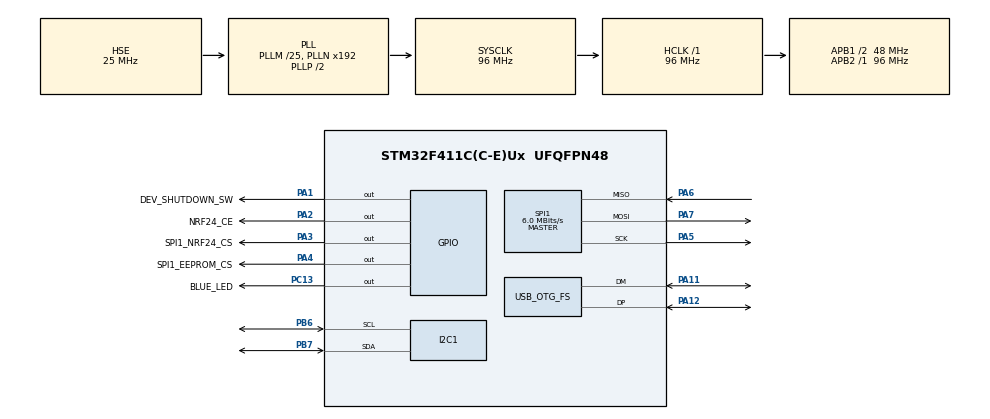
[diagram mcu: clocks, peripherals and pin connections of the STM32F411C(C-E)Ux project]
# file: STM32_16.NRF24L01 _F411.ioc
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FREERTOS.Tasks01=defaultTask,24,256,StartDefaultTask,Default,NULL,Dynamic,NULL,NULL;CommunicationTa,40,1024,StartCommunicationTask,Default,NULL,Dynamic,NULL,NULL;ReadSensorsTask,16,512,StartReadSensorsTask,Default,NULL,Dynamic,NULL,NULL
FREERTOS.configUSE_NEWLIB_REENTRANT=1
I2C1.I2C_Mode=I2C_Fast
Mcu.Family=STM32F4
Mcu.Name=STM32F411C(C-E)Ux
Mcu.Package=UFQFPN48
NVIC.I2C1_ER_IRQn=true\:5\:0\:false\:false\:true\:true\:true\:true\:true
NVIC.I2C1_EV_IRQn=true\:5\:0\:false\:false\:true\:true\:true\:true\:true
NVIC.OTG_FS_IRQn=true\:5\:0\:false\:false\:true\:true\:false\:true\:true
NVIC.PriorityGroup=NVIC_PRIORITYGROUP_4
NVIC.SPI1_IRQn=true\:5\:0\:false\:false\:true\:true\:true\:true\:true
NVIC.TIM1_UP_TIM10_IRQn=true\:15\:0\:false\:false\:true\:false\:false\:true\:true
NVIC.TimeBase=TIM1_UP_TIM10_IRQn
NVIC.TimeBaseIP=TIM10
PA1.GPIO_Label=DEV_SHUTDOWN_SW
PA1.GPIO_PuPd=GPIO_NOPULL
PA1.Signal=GPIO_Output
PA11.Mode=Device_Only
PA11.Signal=USB_OTG_FS_DM
PA12.Mode=Device_Only
PA12.Signal=USB_OTG_FS_DP
PA13.Mode=Serial_Wire
PA13.Signal=SYS_JTMS-SWDIO
PA14.Mode=Serial_Wire
PA14.Signal=SYS_JTCK-SWCLK
PA2.GPIO_Label=NRF24_CE
PA2.Signal=GPIO_Output
PA3.GPIO_Label=SPI1_NRF24_CS
PA3.Signal=GPIO_Output
PA4.GPIO_Label=SPI1_EEPROM_CS
PA4.Signal=GPIO_Output
PA5.Mode=Full_Duplex_Master
PA5.Signal=SPI1_SCK
PA6.Mode=Full_Duplex_Master
PA6.Signal=SPI1_MISO
PA7.Mode=Full_Duplex_Master
PA7.Signal=SPI1_MOSI
PB6.Mode=I2C
PB6.Signal=I2C1_SCL
PB7.Mode=I2C
PB7.Signal=I2C1_SDA
PC13-ANTI_TAMP.GPIO_Label=BLUE_LED
PC13-ANTI_TAMP.Signal=GPIO_Output
PH0\ -\ OSC_IN.Mode=HSE-External-Oscillator
PH0\ -\ OSC_IN.Signal=RCC_OSC_IN
PH1\ -\ OSC_OUT.Mode=HSE-External-Oscillator
PH1\ -\ OSC_OUT.Signal=RCC_OSC_OUT
ProjectManager.HeapSize=0x200
ProjectManager.StackSize=0x400
ProjectManager.TargetToolchain=STM32CubeIDE
RCC.48MHZClocksFreq_Value=48000000
RCC.AHBFreq_Value=96000000
RCC.APB1CLKDivider=RCC_HCLK_DIV2
RCC.APB1Freq_Value=48000000
RCC.APB1TimFreq_Value=96000000
RCC.APB2Freq_Value=96000000
RCC.APB2TimFreq_Value=96000000
RCC.CortexFreq_Value=96000000
RCC.HCLKFreq_Value=96000000
RCC.HSE_VALUE=25000000
RCC.HSI_VALUE=16000000
RCC.LSE_VALUE=32768
RCC.PLLM=25
RCC.SYSCLKFreq_VALUE=96000000
RCC.SYSCLKSource=RCC_SYSCLKSOURCE_PLLCLK
RCC.VCOOutputFreq_Value=192000000
SPI1.BaudRatePrescaler=SPI_BAUDRATEPRESCALER_16
SPI1.CalculateBaudRate=6.0 MBits/s
SPI1.Direction=SPI_DIRECTION_2LINES
SPI1.Mode=SPI_MODE_MASTER
SPI1.VirtualType=VM_MASTER
USB_DEVICE.CLASS_NAME_FS=CDC
USB_DEVICE.VirtualMode=Cdc
USB_DEVICE.VirtualModeFS=Cdc_FS
USB_OTG_FS.VirtualMode=Device_Only
VP_FREERTOS_VS_CMSIS_V2.Mode=CMSIS_V2
VP_SYS_VS_tim10.Mode=TIM10
VP_USB_DEVICE_VS_USB_DEVICE_CDC_FS.Mode=CDC_FS
board=custom

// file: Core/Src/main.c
/* USER CODE BEGIN Header */
/**
  ******************************************************************************
  * @file           : main.c
  * @brief          : Main program body
  ******************************************************************************
  * @attention
  *
  * Copyright (c) 2026 STMicroelectronics.
  * All rights reserved.
  *
  * This software is licensed under terms that can be found in the LICENSE file
  * in the root directory of this software component.
  * If no LICENSE file comes with this software, it is provided AS-IS.
  *
  ******************************************************************************
  */
/* USER CODE END Header */
#include "main.h"
#include "cmsis_os.h"
#include "i2c.h"
#include "spi.h"
#include "usb_device.h"
#include "gpio.h"

void SystemClock_Config(void);
void MX_FREERTOS_Init(void);

int main(void)
{

  /* MCU Configuration--------------------------------------------------------*/

  /* Reset of all peripherals, Initializes the Flash interface and the Systick. */
  HAL_Init();

  /* Configure the system clock */
  SystemClock_Config();

  /* Initialize all configured peripherals */
  MX_GPIO_Init();
  MX_SPI1_Init();
  MX_I2C1_Init();

  /* Init scheduler */
  osKernelInitialize();  /* Call init function for freertos objects (in cmsis_os2.c) */
  MX_FREERTOS_Init();

  /* Start scheduler */
  osKernelStart();

  /* We should never get here as control is now taken by the scheduler */

  /* Infinite loop */
  while (1)
  {

  }
}

void SystemClock_Config(void)
{
  RCC_OscInitTypeDef RCC_OscInitStruct = {0};
  RCC_ClkInitTypeDef RCC_ClkInitStruct = {0};

  /** Configure the main internal regulator output voltage
  */
  __HAL_RCC_PWR_CLK_ENABLE();
  __HAL_PWR_VOLTAGESCALING_CONFIG(PWR_REGULATOR_VOLTAGE_SCALE1);

  /** Initializes the RCC Oscillators according to the specified parameters
  * in the RCC_OscInitTypeDef structure.
  */
  RCC_OscInitStruct.OscillatorType = RCC_OSCILLATORTYPE_HSE;
  RCC_OscInitStruct.HSEState = RCC_HSE_ON;
  RCC_OscInitStruct.PLL.PLLState = RCC_PLL_ON;
  RCC_OscInitStruct.PLL.PLLSource = RCC_PLLSOURCE_HSE;
  RCC_OscInitStruct.PLL.PLLM = 25;
  RCC_OscInitStruct.PLL.PLLN = 192;
  RCC_OscInitStruct.PLL.PLLP = RCC_PLLP_DIV2;
  RCC_OscInitStruct.PLL.PLLQ = 4;
  if (HAL_RCC_OscConfig(&RCC_OscInitStruct) != HAL_OK)
  {
    Error_Handler();
  }

  /** Initializes the CPU, AHB and APB buses clocks
  */
  RCC_ClkInitStruct.ClockType = RCC_CLOCKTYPE_HCLK|RCC_CLOCKTYPE_SYSCLK
                              |RCC_CLOCKTYPE_PCLK1|RCC_CLOCKTYPE_PCLK2;
  RCC_ClkInitStruct.SYSCLKSource = RCC_SYSCLKSOURCE_PLLCLK;
  RCC_ClkInitStruct.AHBCLKDivider = RCC_SYSCLK_DIV1;
  RCC_ClkInitStruct.APB1CLKDivider = RCC_HCLK_DIV2;
  RCC_ClkInitStruct.APB2CLKDivider = RCC_HCLK_DIV1;

  if (HAL_RCC_ClockConfig(&RCC_ClkInitStruct, FLASH_LATENCY_3) != HAL_OK)
  {
    Error_Handler();
  }
}

void HAL_TIM_PeriodElapsedCallback(TIM_HandleTypeDef *htim)
{
  if (htim->Instance == TIM10)
  {
    HAL_IncTick();
  }
}

void Error_Handler(void)
{
  __disable_irq();
  while (1)
  {
  }
}

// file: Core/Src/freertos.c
/* USER CODE BEGIN Header */
/**
  ******************************************************************************
  * File Name          : freertos.c
  * Description        : Code for freertos applications
  ******************************************************************************
  * @attention
  *
  * Copyright (c) 2026 STMicroelectronics.
  * All rights reserved.
  *
  * This software is licensed under terms that can be found in the LICENSE file
  * in the root directory of this software component.
  * If no LICENSE file comes with this software, it is provided AS-IS.
  *
  ******************************************************************************
  */
/* USER CODE END Header */

#include "FreeRTOS.h"
#include "task.h"
#include "main.h"
#include "cmsis_os.h"

/* USER CODE BEGIN Includes */
#include <stdio.h>
#include <string.h>
#include "spi.h"
#include "i2c.h"
#include "UsbDebug.h"
#include "SecureCommunication.h"
#include "Communication.h"
#include "CommunicationLink.h"
#include "NrfLink.h"
#include "CommunicationDevices.h"
#include "BMP280.h"
#include "BH1750.h"
/* USER CODE END Includes */

/* USER CODE BEGIN PD */
#define COMM_FLAG_RADIO_INIT_REQUEST (1u << 0)
#define COMM_FLAG_BATCH_END          (1u << 1)

#define SENSOR_FLAG_RADIO_READY      (1u << 2)
#define SENSOR_FLAG_RADIO_ERROR      (1u << 3)
#define SENSOR_FLAG_TX_COMPLETE      (1u << 4)
#define SENSOR_FLAG_TX_ERROR         (1u << 5)

#define DEVICE_POWER_STABILIZATION_MS   500u
#define SENSOR_CYCLE_DELAY_MS            60000u
#define SENSOR_INIT_RETRY_COUNT              5u
#define SENSOR_INIT_RETRY_DELAY_MS          100u
#define I2C_RESTART_DELAY_MS                 10u
#define BMP280_MEASUREMENT_TIMEOUT_MS       100u
#define RADIO_INIT_TIMEOUT_MS             5000u
#define COMMUNICATION_SESSION_TIMEOUT_MS  5000u
#define TX_COMPLETE_TIMEOUT_MS            6000u
/* USER CODE END PD */

/* USER CODE BEGIN Variables */
volatile uint8_t ToggleLed = 1u;

/*
 * Select this firmware instance from the central device table.
 * currentDevice is Device 0x02, rootDevice is Device 0x01.
 */
static const CommunicationDevice_t * const rootDevice = &communicationDevices[0];
static const CommunicationDevice_t * const currentDevice = &communicationDevices[1];

static SecureCommunication_t secureCommunication;
static NrfLink_t nrfLink;
static Communication_t communication;
/* USER CODE END Variables */
/* Definitions for defaultTask */
osThreadId_t defaultTaskHandle;
const osThreadAttr_t defaultTask_attributes = {
  .name = "defaultTask",
  .stack_size = 256 * 4,
  .priority = (osPriority_t) osPriorityNormal,
};
/* Definitions for CommunicationTa */
osThreadId_t CommunicationTaHandle;
const osThreadAttr_t CommunicationTa_attributes = {
  .name = "CommunicationTa",
  .stack_size = 1024 * 4,
  .priority = (osPriority_t) osPriorityHigh,
};
/* Definitions for ReadSensorsTask */
osThreadId_t ReadSensorsTaskHandle;
const osThreadAttr_t ReadSensorsTask_attributes = {
  .name = "ReadSensorsTask",
  .stack_size = 512 * 4,
  .priority = (osPriority_t) osPriorityBelowNormal,
};

/* USER CODE BEGIN FunctionPrototypes */
static void LogCommunicationError(CommunicationStatus_t status);
static bool InitializeSensors(void);
static bool WaitForBmp280MeasurementComplete(void);
static bool QueueMeasurement(SecureMessageType_t messageType, float value, const char *name);
static bool QueueMeasurements(float lux, float temperature, float pressure, float humidity);
static void RestartI2CPeripheral(void);
static void ExternalDevicesPowerOn(void);
static void ExternalDevicesPowerOff(void);
/* USER CODE END FunctionPrototypes */

void StartDefaultTask(void *argument);
void StartCommunicationTask(void *argument);
void StartReadSensorsTask(void *argument);

extern void MX_USB_DEVICE_Init(void);
void MX_FREERTOS_Init(void); /* (MISRA C 2004 rule 8.1) */

void MX_FREERTOS_Init(void) {
  /* USER CODE BEGIN Init */
	bmp280.i2c = &hi2c1;               // uchwyt I2C (np. &hi2c1, &hi2c2)
	bmp280.addr = BMP280_I2C_ADDRESS_0; // adres 0x76 (SDO do GND) lub ADDRESS_1 (0x77)
	bmp280_init_default_params(&bmp280.params);
	bmp280.params.mode = BMP280_MODE_FORCED;

	bh1750.hi2c = &hi2c1;
	bh1750.address = BH1750_I2C_ADDRESS;
	bh1750.mode = BH1750_MODE_CONTINUOUS_HIGH_RES;
	bh1750.initialized = false;

  /* USER CODE END Init */

  /* USER CODE BEGIN RTOS_QUEUES */
  (void)UsbDebug_CreateOsObjects();
  /* USER CODE END RTOS_QUEUES */

  /* Create the thread(s) */
  /* creation of defaultTask */
  defaultTaskHandle = osThreadNew(StartDefaultTask, NULL, &defaultTask_attributes);

  /* creation of CommunicationTa */
  CommunicationTaHandle = osThreadNew(StartCommunicationTask, NULL, &CommunicationTa_attributes);

  /* creation of ReadSensorsTask */
  ReadSensorsTaskHandle = osThreadNew(StartReadSensorsTask, NULL, &ReadSensorsTask_attributes);

}

void StartDefaultTask(void *argument)
{
  /* init code for USB_DEVICE */
  MX_USB_DEVICE_Init();
  /* USER CODE BEGIN StartDefaultTask */
  (void)argument;

  osDelay(10000u);
  DebugPrintf("Device 0x%02X started\r\n", currentDevice->deviceId);

  uint32_t lastLedToggle = HAL_GetTick();

  for (;;)
  {
    uint32_t now = HAL_GetTick();

    UsbDebug_Process();

    if (ToggleLed != 0u && (uint32_t)(now - lastLedToggle) >= 15000u)
    {
      lastLedToggle = now;
      HAL_GPIO_TogglePin(BLUE_LED_GPIO_Port, BLUE_LED_Pin);
      Debug("Mesurment device alive\r\n");
    }

    osDelay(2u);
  }
  /* USER CODE END StartDefaultTask */
}

void StartCommunicationTask(void *argument)
{
  /* USER CODE BEGIN StartCommunicationTask */
  CommunicationMessage_t receivedMessage;
  CommunicationLink_t linkInterface;
  NRF24_Status_t nrfStatus;

  (void)argument;
  osDelay(10000u);

  /* Software/security layer is initialized only once per MCU boot. */
  if (!SecureCommunication_Init(&secureCommunication, currentDevice->deviceId, currentDevice->deviceKey))
  {
    Debug("SecureCommunication init failed: boot-counter Flash storage (sector 7, 0x08060000)\r\n");
    for (;;)
    {
      osDelay(1000u);
    }
  }

  if (!SecureCommunication_AuthorizePeer(&secureCommunication, rootDevice->deviceId, rootDevice->deviceKey))
  {
    Debug("Secure peer authorization failed\r\n");
    for (;;)
    {
      osDelay(1000u);
    }
  }

  /* Communication queues and routing also live for the whole MCU boot. */
  linkInterface = NrfLink_AsCommunicationLink(&nrfLink);
  if (!Communication_Init(&communication, &secureCommunication, &linkInterface) || !Communication_AddRoute(&communication, rootDevice->deviceId, rootDevice->nrfAddress, NRF_LINK_ADDRESS_SIZE))
  {
    Debug("Communication routing init failed\r\n");
    for (;;)
    {
      osDelay(1000u);
    }
  }

  DebugPrintf("Communication initialized: logical ID=0x%02X\r\n", currentDevice->deviceId);

  for (;;)
  {
    bool batchEnded = false;
    bool txError = false;
    uint32_t sessionStartTick;

    (void)osThreadFlagsWait(COMM_FLAG_RADIO_INIT_REQUEST, osFlagsWaitAny, osWaitForever);
    (void)Communication_ResetTxQueue(&communication);

    nrfStatus = NrfLink_Init(&nrfLink, &hspi1, NRF24_CE_GPIO_Port, NRF24_CE_Pin, SPI1_NRF24_CS_GPIO_Port, SPI1_NRF24_CS_Pin, currentDevice->nrfAddress);
    if (nrfStatus != NRF24_OK)
    {
      DebugPrintf("NRF init failed: %s\r\n", NRF24_StatusToString(nrfStatus));
      osThreadFlagsSet(ReadSensorsTaskHandle, SENSOR_FLAG_RADIO_ERROR);
      continue;
    }

    Debug("NRF initialized for measurement cycle\r\n");
    osThreadFlagsSet(ReadSensorsTaskHandle, SENSOR_FLAG_RADIO_READY);
    sessionStartTick = HAL_GetTick();

    while (true)
    {
      uint32_t pendingFlags = osThreadFlagsGet();

      if ((pendingFlags & COMM_FLAG_BATCH_END) != 0u)
      {
        osThreadFlagsClear(COMM_FLAG_BATCH_END);
        batchEnded = true;
      }

      if (batchEnded && Communication_IsTxQueueEmpty(&communication))
      {
        break;
      }

      if ((HAL_GetTick() - sessionStartTick) >= COMMUNICATION_SESSION_TIMEOUT_MS)
      {
        Debug("Communication session timeout\r\n");
        txError = true;
        (void)Communication_ResetTxQueue(&communication);
        break;
      }

      CommunicationStatus_t status = Communication_Process(&communication);
      if (status != COMMUNICATION_OK && status != COMMUNICATION_IDLE)
      {
        LogCommunicationError(status);
        txError = true;
      }

      while (Communication_TryReceive(&communication, &receivedMessage))
      {
        DebugMessage("RX", receivedMessage.sourceId, receivedMessage.destinationId, (uint8_t)receivedMessage.messageType, receivedMessage.payload, receivedMessage.payloadLength);
      }

      osDelay(1u);
    }

    nrfStatus = NRF24_StopListening(&nrfLink.radio);
    if (nrfStatus != NRF24_OK)
    {
      DebugPrintf("NRF stop listening failed: %s\r\n", NRF24_StatusToString(nrfStatus));
      txError = true;
    }

    uint32_t resultFlags = SENSOR_FLAG_TX_COMPLETE;
    if (txError)
    {
      resultFlags |= SENSOR_FLAG_TX_ERROR;
    }

    osThreadFlagsSet(ReadSensorsTaskHandle, resultFlags);
  }
  /* USER CODE END StartCommunicationTask */
}

void StartReadSensorsTask(void *argument)
{
  /* USER CODE BEGIN StartReadSensorsTask */
  (void)argument;

  while (!Communication_IsInitialized(&communication))
  {
    osDelay(100u);
  }

  for (;;)
  {
    float lux;
    uint32_t flags;

    ExternalDevicesPowerOn();

    if (!InitializeSensors())
    {
      ExternalDevicesPowerOff();
      osDelay(SENSOR_CYCLE_DELAY_MS);
      continue;
    }

    lux = BH1750_ReadLux(&bh1750);
    if (lux < 0.0f)
    {
      Debug("BH1750 read error\r\n");
      ExternalDevicesPowerOff();
      osDelay(SENSOR_CYCLE_DELAY_MS);
      continue;
    }

    if (!bmp280_force_measurement(&bmp280))
    {
      Debug("BMP280 force measurement failed\r\n");
      ExternalDevicesPowerOff();
      osDelay(SENSOR_CYCLE_DELAY_MS);
      continue;
    }

    if (!WaitForBmp280MeasurementComplete())
    {
      ExternalDevicesPowerOff();
      osDelay(SENSOR_CYCLE_DELAY_MS);
      continue;
    }

    if (!bmp280_read_float(&bmp280, &BMP280_temperature, &BMP280_pressure, &BMP280_humidity))
    {
      Debug("BMP280 read error\r\n");
      ExternalDevicesPowerOff();
      osDelay(SENSOR_CYCLE_DELAY_MS);
      continue;
    }

    osThreadFlagsSet(CommunicationTaHandle, COMM_FLAG_RADIO_INIT_REQUEST);
    flags = osThreadFlagsWait(SENSOR_FLAG_RADIO_READY | SENSOR_FLAG_RADIO_ERROR, osFlagsWaitAny, RADIO_INIT_TIMEOUT_MS);

    if ((flags & osFlagsError) != 0u)
    {
      Debug("Radio initialization timeout\r\n");
      ExternalDevicesPowerOff();
      osDelay(SENSOR_CYCLE_DELAY_MS);
      continue;
    }

    if ((flags & SENSOR_FLAG_RADIO_ERROR) != 0u)
    {
      Debug("Radio initialization failed for measurement cycle\r\n");
      ExternalDevicesPowerOff();
      osDelay(SENSOR_CYCLE_DELAY_MS);
      continue;
    }

    if (!QueueMeasurements(lux, BMP280_temperature, BMP280_pressure / 100.0f, BMP280_humidity))
    {
      Debug("Not all measurements were queued\r\n");
    }

    osThreadFlagsSet(CommunicationTaHandle, COMM_FLAG_BATCH_END);
    flags = osThreadFlagsWait(SENSOR_FLAG_TX_COMPLETE | SENSOR_FLAG_TX_ERROR, osFlagsWaitAny, TX_COMPLETE_TIMEOUT_MS);

    if ((flags & osFlagsError) != 0u)
    {
      Debug("Communication completion timeout\r\n");
    }
    else if ((flags & SENSOR_FLAG_TX_ERROR) != 0u)
    {
      Debug("Measurement cycle completed with communication error\r\n");
    }
    else
    {
      Debug("Measurement cycle transmitted successfully\r\n");
    }

    ExternalDevicesPowerOff();
    osDelay(SENSOR_CYCLE_DELAY_MS);
  }
  /* USER CODE END StartReadSensorsTask */
}

/* USER CODE BEGIN Application */
static bool InitializeSensors(void)
{
    BH1750_Error bhStatus = BH1750_ERROR_I2C;
    bmp280_params_t bmpParams;
    bool bmpInitialized = false;
    uint32_t attempt;

    bh1750.initialized = false;
    bmp280.initialized = false;
    bmp280_init_default_params(&bmpParams);
    bmpParams.mode = BMP280_MODE_FORCED;

    for (attempt = 1u; attempt <= SENSOR_INIT_RETRY_COUNT; ++attempt)
    {
        bh1750.initialized = false;
        bhStatus = BH1750_Init(&bh1750);
        if (bhStatus == BH1750_OK)
        {
            break;
        }

        DebugPrintf("BH1750 init failed attempt %lu/%lu: err=%u I2Cerr=0x%08lX state=%lu\r\n",
                    (unsigned long)attempt,
                    (unsigned long)SENSOR_INIT_RETRY_COUNT,
                    (unsigned int)bhStatus,
                    (unsigned long)HAL_I2C_GetError(&hi2c1),
                    (unsigned long)HAL_I2C_GetState(&hi2c1));

        if (attempt < SENSOR_INIT_RETRY_COUNT)
        {
            RestartI2CPeripheral();
            osDelay(SENSOR_INIT_RETRY_DELAY_MS);
        }
    }

    if (bhStatus != BH1750_OK)
    {
        return false;
    }
    Debug("BH1750 initialized successfully\r\n");

    for (attempt = 1u; attempt <= SENSOR_INIT_RETRY_COUNT; ++attempt)
    {
        bmp280.initialized = false;
        if (bmp280_init(&bmp280, &bmpParams))
        {
            bmpInitialized = true;
            break;
        }

        DebugPrintf("BMP280 init failed attempt %lu/%lu: I2Cerr=0x%08lX state=%lu\r\n",
                    (unsigned long)attempt,
                    (unsigned long)SENSOR_INIT_RETRY_COUNT,
                    (unsigned long)HAL_I2C_GetError(&hi2c1),
                    (unsigned long)HAL_I2C_GetState(&hi2c1));

        if (attempt < SENSOR_INIT_RETRY_COUNT)
        {
            RestartI2CPeripheral();
            osDelay(SENSOR_INIT_RETRY_DELAY_MS);
        }
    }

    if (!bmpInitialized)
    {
        return false;
    }
    Debug("BMP280 initialized successfully\r\n");
    DebugPrintf("BMP280 calib: ID=0x%02X T1=%u P1=%u H1=%u\r\n", (unsigned int)bmp280.id, (unsigned int)bmp280.dig_T1, (unsigned int)bmp280.dig_P1, (unsigned int)bmp280.dig_H1);

    return true;
}

static bool WaitForBmp280MeasurementComplete(void)
{
    bool isMeasuring = false;
    bool measurementStarted = false;
    uint32_t startTick = HAL_GetTick();

    for (;;)
    {
        if (!bmp280_get_measuring_status(&bmp280, &isMeasuring))
        {
            Debug("BMP280 status read error\r\n");
            return false;
        }

        if (isMeasuring)
        {
            measurementStarted = true;
        }
        else if (measurementStarted)
        {
            return true;
        }

        if ((HAL_GetTick() - startTick) >= BMP280_MEASUREMENT_TIMEOUT_MS)
        {
            Debug("BMP280 measurement timeout\r\n");
            return false;
        }

        osDelay(1u);
    }
}

static bool QueueMeasurement(SecureMessageType_t messageType, float value, const char *name)
{
    char buffer[32];
    int length = snprintf(buffer, sizeof(buffer), "%.2f", value);

    if (length <= 0 || length >= (int)sizeof(buffer))
    {
        DebugPrintf("Failed to format %s\r\n", name);
        return false;
    }

    if (!Communication_Send(&communication, rootDevice->deviceId, messageType, buffer, (uint16_t)length))
    {
        DebugPrintf("Failed to queue %s\r\n", name);
        return false;
    }

    DebugMessage(name, currentDevice->deviceId, rootDevice->deviceId, (uint8_t)messageType, (const uint8_t *)buffer, (uint16_t)length);
    return true;
}

static bool QueueMeasurements(float lux, float temperature, float pressure, float humidity)
{
    bool result = true;

    if (!QueueMeasurement(MESSAGE_TYPE_LIGHT_MESURMENT, lux, "TX QUEUED Lux"))
    {
        result = false;
    }
    if (!QueueMeasurement(MESSAGE_TYPE_TEMPERATURE, temperature, "TX QUEUED Temperature"))
    {
        result = false;
    }
    if (!QueueMeasurement(MESSAGE_TYPE_PRESSURE, pressure, "TX QUEUED Pressure"))
    {
        result = false;
    }
    if (!QueueMeasurement(MESSAGE_TYPE_HUMIDITY, humidity, "TX QUEUED Humidity"))
    {
        result = false;
    }

    return result;
}

static void RestartI2CPeripheral(void)
{
    (void)HAL_I2C_DeInit(&hi2c1);
    osDelay(I2C_RESTART_DELAY_MS);
    MX_I2C1_Init();
}

static void ExternalDevicesPowerOn(void)
{
    /* Leave all bus pins high-impedance while the switched rail is off. */
    HAL_GPIO_WritePin(NRF24_CE_GPIO_Port, NRF24_CE_Pin, GPIO_PIN_RESET);
    HAL_GPIO_WritePin(SPI1_NRF24_CS_GPIO_Port, SPI1_NRF24_CS_Pin, GPIO_PIN_RESET);
    (void)HAL_SPI_DeInit(&hspi1);
    (void)HAL_I2C_DeInit(&hi2c1);

    HAL_GPIO_WritePin(DEV_SHUTDOWN_SW_GPIO_Port, DEV_SHUTDOWN_SW_Pin, GPIO_PIN_SET);
    Debug("External devices power ON\r\n");
    osDelay(DEVICE_POWER_STABILIZATION_MS);

    /* Restore MCU interfaces only after the external rail is stable. */
    MX_I2C1_Init();
    MX_SPI1_Init();
    HAL_GPIO_WritePin(NRF24_CE_GPIO_Port, NRF24_CE_Pin, GPIO_PIN_RESET);
    HAL_GPIO_WritePin(SPI1_NRF24_CS_GPIO_Port, SPI1_NRF24_CS_Pin, GPIO_PIN_SET);
}

static void ExternalDevicesPowerOff(void)
{
    bh1750.initialized = false;
    bmp280.initialized = false;

    /* Prevent back-powering the unpowered nRF/sensors through MCU signal pins. */
    HAL_GPIO_WritePin(NRF24_CE_GPIO_Port, NRF24_CE_Pin, GPIO_PIN_RESET);
    HAL_GPIO_WritePin(SPI1_NRF24_CS_GPIO_Port, SPI1_NRF24_CS_Pin, GPIO_PIN_RESET);
    (void)HAL_SPI_DeInit(&hspi1);
    (void)HAL_I2C_DeInit(&hi2c1);

    HAL_GPIO_WritePin(DEV_SHUTDOWN_SW_GPIO_Port, DEV_SHUTDOWN_SW_Pin, GPIO_PIN_RESET);
    Debug("External devices power OFF\r\n");
}

static void LogCommunicationError(CommunicationStatus_t status)
{
    if (status == COMMUNICATION_PROCESS_LINK_ERROR)
    {
        DebugPrintf("Communication link error: %s\r\n",
                    CommunicationLink_StatusToString(
                        Communication_GetLastLinkStatus(&communication)));
    }
    else if (status == COMMUNICATION_SECURE_ERROR)
    {
        SecureTransportStatus_t secureStatus =
            Communication_GetLastSecureStatus(&communication);

        DebugPrintf("Secure communication error: %s",
                    SecureTransport_StatusToString(secureStatus));

        if (secureStatus == SECURE_TRANSPORT_PROTOCOL_ERROR)
        {
            DebugPrintf(" / %s",
                        SecureProtocol_StatusToString(
                            SecureCommunication_GetLastProtocolStatus(
                                &secureCommunication)));
        }

        Debug("\r\n");
    }
    else
    {
        DebugPrintf("Communication error: %s\r\n",
                    Communication_StatusToString(status));
    }
}

/* USER CODE END Application */
